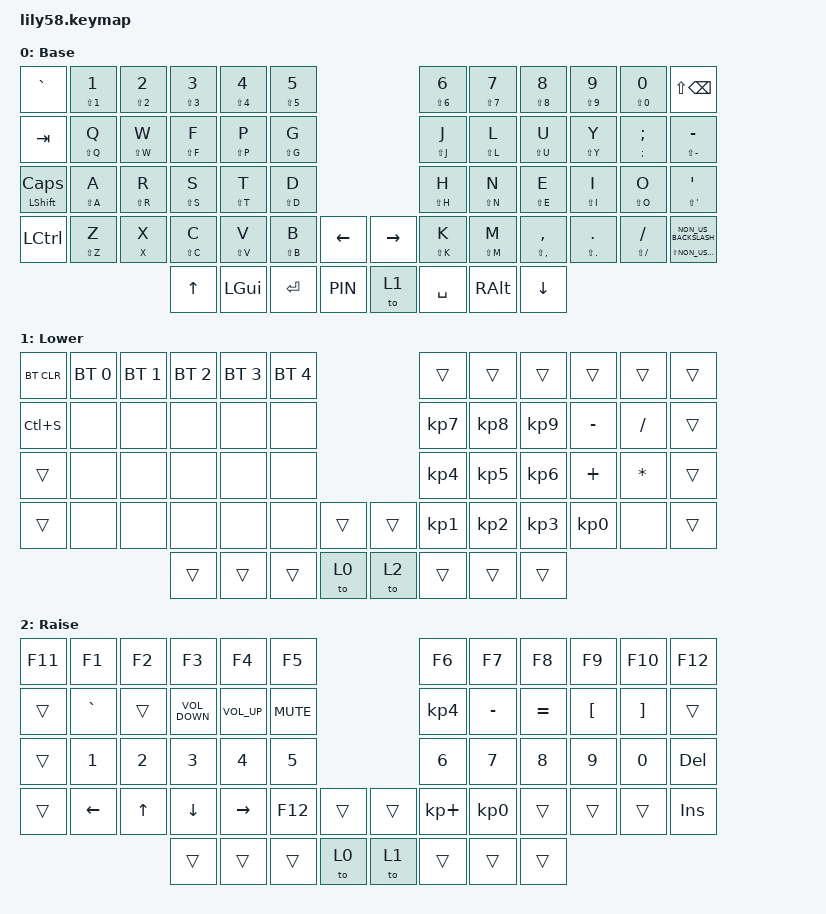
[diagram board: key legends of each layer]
/*
 * Copyright (c) 2020 The ZMK Contributors
 *
 * SPDX-License-Identifier: MIT
 */

#include <behaviors.dtsi>
#include <dt-bindings/zmk/bt.h>
#include <dt-bindings/zmk/keys.h>

/ {
    combos {
        compatible = "zmk,combos";

        Delete {
            bindings = <&kp DELETE>;
            key-positions = <10 11>;
        };

        Escape {
            bindings = <&kp ESCAPE>;
            key-positions = <0 1>;
        };

        wsad {
            bindings = <&wsp>;
            key-positions = <52 53>;
        };

        kbaer {
            bindings = <&kbaer>;
            key-positions = <16 17>;
        };

        ashorg {
            bindings = <&ashraeorg>;
            key-positions = <28 29>;
        };

        adm {
            bindings = <&admin>;
            key-positions = <40 41>;
        };

        m2 {
            bindings = <&M2>;
            key-positions = <44 45>;
        };
    };

    macros {
        PIN: PIN {
            compatible = "zmk,behavior-macro";
            #binding-cells = <0>;
            bindings = <&kp N2 &kp N2 &kp N7 &kp N7 &kp N4 &kp N3>;
            label = "PIN";
        };

        wsp: wsp {
            compatible = "zmk,behavior-macro";
            #binding-cells = <0>;
            bindings = <&kp LS(B) &kp R &kp A &kp V &kp E &kp S &kp N1 &kp DLLR>;
            label = "WSP";
        };

        M2: M2 {
            compatible = "zmk,behavior-macro";
            #binding-cells = <0>;
            bindings = <&kp C &kp H &kp I &kp C &kp A &kp G &kp O &kp I &kp S &kp T &kp O &kp O &kp C &kp O &kp L &kp D>;
            label = "M2";
        };

        M3: M3 {
            compatible = "zmk,behavior-macro";
            #binding-cells = <0>;
            bindings = <&kp N4 &kp LS(T) &kp O &kp LS(B) &kp E &kp O &kp R &kp LS(N) &kp O &kp T &kp EXCL>;
            label = "M3";
        };

        M4: M4 {
            compatible = "zmk,behavior-macro";
            #binding-cells = <0>;
            bindings = <&kp LS(H) &kp A &kp P &kp P &kp Y &kp N1 &kp N3 &kp T &kp H &kp LS(J) &kp O &kp L &kp L &kp Y &kp EXCL>;
            label = "M4";
        };

        ashraeorg: ashraeorg {
            compatible = "zmk,behavior-macro";
            #binding-cells = <0>;
            bindings = <&kp AT &kp A &kp S &kp H &kp R &kp A &kp E &kp DOT &kp O &kp R &kp G>;
            label = "ASHRAEORG";
        };

        admin: admin {
            compatible = "zmk,behavior-macro";
            #binding-cells = <0>;
            bindings = <&kp A &kp D &kp M &kp I &kp N &kp I &kp S &kp T &kp R &kp A &kp T &kp O &kp R>;
            label = "ADMIN";
        };

        kbaer: kbaer {
            compatible = "zmk,behavior-macro";
            #binding-cells = <0>;
            bindings = <&kp K &kp B &kp A &kp E &kp R>;
            label = "KBAER";
        };
    };

    keymap {
        compatible = "zmk,keymap";

        default_layer {
            // ------------------------------------------------------------------------------------------------------------
            // |  ESC  |  1  |  2  |  3   |  4   |  5   |                   |  6   |  7    |  8    |  9   |   0   |   `   |
            // |  TAB  |  Q  |  W  |  E   |  R   |  T   |                   |  Y   |  U    |  I    |  O   |   P   |   -   |
            // |  CTRL |  A  |  S  |  D   |  F   |  G   |                   |  H   |  J    |  K    |  L   |   ;   |   '   |
            // | SHIFT |  Z  |  X  |  C   |  V   |  B   |   "["  |  |  "]"  |  N   |  M    |  ,    |  .   |   /   | SHIFT |
            //                     | ALT  | GUI  | LOWER|  SPACE |  | ENTER | RAISE| BSPC  | GUI   |

            display-name = "Base";
            bindings = <
&kp GRAVE            &mt LS(N1) NUMBER_1  &mt LS(N2) NUMBER_2  &mt LS(N3) NUMBER_3  &mt LS(N4) NUMBER_4  &mt LS(N5) N5                         &mt LS(N6) NUMBER_6  &mt LS(N7) N7  &mt LS(N8) N8        &mt LS(N9) N9       &mt LS(N0) N0            &kp LS(BACKSPACE)
&kp TAB              &mt LS(Q) Q          &mt LS(W) W          &mt LS(F) F          &mt LS(P) P          &mt LS(G) G                           &mt LS(J) J          &mt LS(L) L    &mt LS(U) U          &mt LS(Y) Y         &mt SEMICOLON SEMICOLON  &mt LS(MINUS) MINUS
&mt LEFT_SHIFT CAPS  &mt LS(A) A          &mt LS(R) R          &mt LS(S) S          &mt LS(T) T          &mt LS(D) D                           &mt LS(H) H          &mt LS(N) N    &mt LS(E) E          &mt LS(I) I         &mt LS(O) O              &mt LS(SQT) SQT
&kp LCTRL            &mt LS(Z) Z          &mt X X              &mt LS(C) C          &mt LS(V) V          &mt LS(B) B    &kp LEFT    &kp RIGHT  &mt LS(K) K          &mt LS(M) M    &mt LS(COMMA) COMMA  &mt LS(DOT) PERIOD  &mt LS(FSLH) FSLH        &mt LS(NON_US_BACKSLASH) NON_US_BACKSLASH
                                                               &kp UP_ARROW         &kp LGUI             &kp ENTER      &PIN        &to 1      &kp SPACE            &kp RIGHT_ALT  &kp DOWN_ARROW
            >;
        };

        lower_layer {
            // ------------------------------------------------------------------------------------------------------------
            // | BTCLR | BT1 | BT2 |  BT3 |  BT4 |  BT5 |                   |      |       |       |      |       |       |
            // |  F1   |  F2 |  F3 |  F4  |  F5  |  F6  |                   |  F7  |  F8   |  F9   |  F10 |  F11  |  F12  |
            // |   `   |  !  |  @  |  #   |  $   |  %   |                   |  ^   |  &    |  *    |  (   |   )   |   ~   |
            // |       |     |     |      |      |      |        |  |       |      |  _    |  +    |  {   |   }   |  "|"  |
            //                     |      |      |      |        |  |       |      |       |       |

            display-name = "Lower";
            bindings = <
&bt BT_CLR  &bt BT_SEL 0  &bt BT_SEL 1  &bt BT_SEL 2  &bt BT_SEL 3  &bt BT_SEL 4                    &trans           &trans           &trans           &trans           &trans        &trans
&kp LC(S)   &none         &none         &none         &none         &none                           &kp KP_NUMBER_7  &kp KP_NUMBER_8  &kp KP_NUMBER_9  &kp MINUS        &kp FSLH      &trans
&trans      &none         &none         &none         &none         &none                           &kp KP_NUMBER_4  &kp KP_NUMBER_5  &kp KP_NUMBER_6  &kp PLUS         &kp ASTERISK  &trans
&trans      &none         &none         &none         &none         &none         &trans    &trans  &kp KP_NUMBER_1  &kp KP_NUMBER_2  &kp KP_NUMBER_3  &kp KP_NUMBER_0  &none         &trans
                                        &trans        &trans        &trans        &to 0     &to 2   &trans           &trans           &trans
            >;
        };

        raise_layer {
            // ------------------------------------------------------------------------------------------------------------
            // |       |     |     |      |      |      |                   |      |       |       |      |       |       |
            // |   `   |  1  |  2  |  3   |  4   |  5   |                   |  6   |   7   |   8   |  9   |   0   |       |
            // |   F1  |  F2 |  F3 |  F4  |  F5  |  F6  |                   |      |   <-  |   v   |  ^   |  ->   |       |
            // |   F7  |  F8 |  F9 |  F10 |  F11 |  F12 |        |  |       |  +   |   -   |   =   |  [   |   ]   |   \   |
            //                     |      |      |      |        |  |       |      |       |       |

            display-name = "Raise";
            bindings = <
&kp F11  &kp F1        &kp F2        &kp F3             &kp F4           &kp F5                        &kp F6           &kp F7           &kp F8     &kp F9            &kp F10            &kp F12
&trans   &kp GRAVE     &trans        &kp C_VOLUME_DOWN  &kp C_VOLUME_UP  &kp K_MUTE                    &kp KP_NUMBER_4  &kp MINUS        &kp EQUAL  &kp LEFT_BRACKET  &kp RIGHT_BRACKET  &trans
&trans   &kp NUMBER_1  &kp NUMBER_2  &kp NUMBER_3       &kp NUMBER_4     &kp N5                        &kp NUMBER_6     &kp NUMBER_7     &kp N8     &kp N9            &kp N0             &kp DELETE
&trans   &kp LEFT      &kp UP_ARROW  &kp DOWN_ARROW     &kp RIGHT        &kp F12     &trans    &trans  &kp KP_PLUS      &kp KP_NUMBER_0  &trans     &trans            &trans             &kp INSERT
                                     &trans             &trans           &trans      &to 0     &to 1   &trans           &trans           &trans
            >;
        };
    };
};
